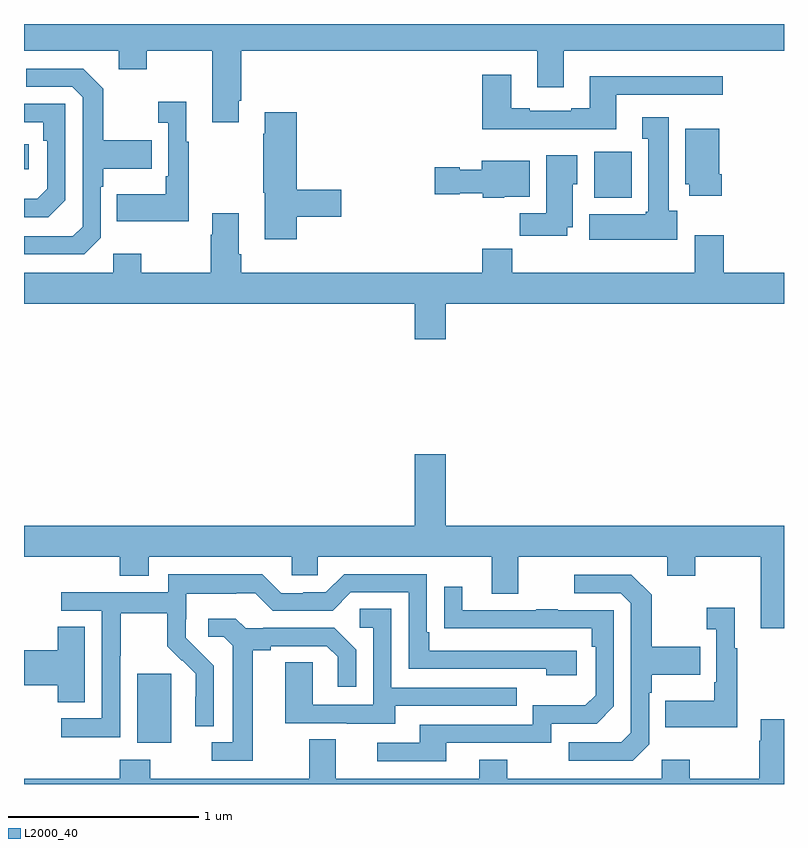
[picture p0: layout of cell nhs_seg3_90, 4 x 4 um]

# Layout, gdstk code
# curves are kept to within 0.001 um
import gdstk
lib = gdstk.Library(unit=1e-6, precision=1e-09)
def R(c, l, rs):  # rectangles x0, y0, x1, y1
    for r in rs: c.add(gdstk.rectangle(r[:2], r[2:], *l))
def P(c, l, *ps):  # polygons
    for p in ps: c.add(gdstk.Polygon(p, *l))
L2000_40 = (2000, 40)

nhs_seg3_90 = lib.new_cell('nhs_seg3_90')
R(nhs_seg3_90, L2000_40, [(115.595,686.618,115.774,686.979), (118.001,689.486,118.198,689.728), (115,689.636,115.024,689.766)])
P(nhs_seg3_90, L2000_40, [(116.131,689.995),(116.144,689.995),(116.144,690.26),(117.701,690.26),(117.701,690.066),(117.841,690.066),(117.841,690.26),(119,690.26),(119,690.4),(115,690.4),(115,690.26),(115.499,690.26),(115.499,690.161),(115.647,690.161),(115.647,690.26),(115.991,690.26),(115.991,689.883),(116.131,689.883)],
  [(115.404,689.274),(115.404,689.543),(115.417,689.543),(115.417,689.639),(115.673,689.639),(115.673,689.787),(115.417,689.787),(115.417,690.059),(115.311,690.165),(115.011,690.165),(115.011,690.069),(115.254,690.069),(115.308,690.015),(115.308,689.334),(115.257,689.283),(115,689.283),(115,689.187),(115.317,689.187)],
  [(118.117,690.027),(118.678,690.027),(118.678,690.124),(117.977,690.124),(117.977,689.956),(117.881,689.956),(117.881,689.943),(117.661,689.943),(117.661,689.956),(117.565,689.956),(117.565,690.133),(117.413,690.133),(117.413,689.846),(118.117,689.846)],
  [(115.867,689.779),(115.855,689.779),(115.855,689.992),(115.707,689.992),(115.707,689.879),(115.758,689.879),(115.758,689.599),(115.746,689.599),(115.746,689.503),(115.489,689.503),(115.489,689.363),(115.867,689.363)],
  [(115.218,689.472),(115.218,689.979),(115,689.979),(115,689.883),(115.102,689.883),(115.102,689.786),(115.122,689.786),(115.122,689.532),(115.069,689.479),(115,689.479),(115,689.382),(115.128,689.382)],
  [(116.435,689.386),(116.671,689.386),(116.671,689.528),(116.435,689.528),(116.435,689.935),(116.267,689.935),(116.267,689.822),(116.26,689.822),(116.26,689.511),(116.267,689.511),(116.267,689.268),(116.435,689.268)],
  [(118.438,689.418),(118.393,689.418),(118.393,689.908),(118.253,689.908),(118.253,689.795),(118.286,689.795),(118.286,689.412),(118.273,689.412),(118.273,689.398),(117.974,689.398),(117.974,689.264),(118.438,689.264)],
  [(118.673,689.608),(118.66,689.608),(118.66,689.848),(118.481,689.848),(118.481,689.556),(118.502,689.556),(118.502,689.496),(118.673,689.496)],
  [(117.859,689.33),(117.889,689.33),(117.889,689.556),(117.913,689.556),(117.913,689.71),(117.749,689.71),(117.749,689.404),(117.61,689.404),(117.61,689.286),(117.859,689.286)],
  [(117.528,689.492),(117.661,689.492),(117.661,689.68),(117.41,689.68),(117.41,689.632),(117.294,689.632),(117.294,689.645),(117.162,689.645),(117.162,689.503),(117.294,689.503),(117.294,689.51),(117.414,689.51),(117.414,689.486),(117.528,689.486)],
  [(117.22,688.928),(119,688.928),(119,689.092),(118.682,689.092),(118.682,689.287),(118.529,689.287),(118.529,689.092),(117.569,689.092),(117.569,689.216),(117.413,689.216),(117.413,689.092),(116.144,689.092),(116.144,689.188),(116.131,689.188),(116.131,689.404),(115.991,689.404),(115.991,689.291),(115.984,689.291),(115.984,689.092),(115.617,689.092),(115.617,689.191),(115.47,689.191),(115.47,689.092),(115,689.092),(115,688.928),(117.056,688.928),(117.056,688.74),(117.22,688.74)],
  [(119,687.76),(117.22,687.76),(117.22,688.135),(117.056,688.135),(117.056,687.76),(115,687.76),(115,687.596),(115.505,687.596),(115.505,687.497),(115.657,687.497),(115.657,687.596),(116.409,687.596),(116.409,687.498),(116.547,687.498),(116.547,687.596),(117.461,687.596),(117.461,687.402),(117.601,687.402),(117.601,687.596),(118.385,687.596),(118.385,687.497),(118.533,687.497),(118.533,687.596),(118.877,687.596),(118.877,687.219),(119,687.219)],
  [(115.506,687.076),(115.509,687.076),(115.509,687.3),(115.753,687.3),(115.753,687.125),(115.83,687.048),(115.833,687.051),(115.904,686.981),(115.904,686.858),(115.902,686.858),(115.902,686.704),(115.998,686.704),(115.998,687.022),(115.852,687.17),(115.852,687.267),(115.854,687.267),(115.854,687.401),(116.117,687.401),(116.117,687.405),(116.217,687.405),(116.31,687.312),(116.625,687.312),(116.721,687.408),(117.024,687.408),(117.024,687.006),(117.749,687.006),(117.749,686.972),(117.91,686.972),(117.91,687.102),(117.133,687.102),(117.133,687.199),(117.12,687.199),(117.12,687.504),(116.685,687.504),(116.589,687.408),(116.471,687.408),(116.471,687.405),(116.355,687.405),(116.255,687.505),(115.758,687.505),(115.758,687.408),(115.197,687.408),(115.197,687.312),(115.41,687.312),(115.41,686.745),(115.197,686.745),(115.197,686.647),(115.506,686.647)],
  [(118.29,686.61),(118.29,686.879),(118.303,686.879),(118.303,686.975),(118.559,686.975),(118.559,687.123),(118.303,687.123),(118.303,687.395),(118.197,687.501),(117.897,687.501),(117.897,687.405),(118.14,687.405),(118.194,687.351),(118.194,686.67),(118.143,686.619),(117.867,686.619),(117.867,686.523),(118.203,686.523)],
  [(117.223,686.616),(117.774,686.616),(117.774,686.718),(118.014,686.718),(118.104,686.808),(118.104,687.315),(117.809,687.315),(117.809,687.32),(117.697,687.32),(117.697,687.315),(117.307,687.315),(117.307,687.439),(117.211,687.439),(117.211,687.22),(117.988,687.219),(117.988,687.122),(118.008,687.122),(118.008,686.868),(117.955,686.815),(117.678,686.815),(117.678,686.712),(117.083,686.712),(117.083,686.616),(116.859,686.616),(116.859,686.52),(117.223,686.52)],
  [(118.753,687.115),(118.741,687.115),(118.741,687.328),(118.593,687.328),(118.593,687.215),(118.644,687.215),(118.644,686.935),(118.632,686.935),(118.632,686.839),(118.375,686.839),(118.375,686.699),(118.753,686.699)],
  [(116.953,686.811),(117.593,686.811),(117.593,686.907),(116.934,686.907),(116.934,687.323),(116.766,687.323),(116.766,687.222),(116.838,687.222),(116.838,686.817),(116.52,686.817),(116.52,687.041),(116.375,687.041),(116.375,686.721),(116.699,686.721),(116.699,686.717),(116.953,686.717)],
  [(116.203,687.104),(116.299,687.104),(116.299,687.126),(116.594,687.126),(116.651,687.069),(116.651,686.913),(116.748,686.913),(116.748,687.106),(116.632,687.222),(116.26,687.222),(116.26,687.219),(116.166,687.219),(116.114,687.271),(115.971,687.271),(115.971,687.174),(116.052,687.174),(116.099,687.127),(116.099,686.619),(115.989,686.619),(115.989,686.523),(116.203,686.523)],
  [(115.321,687.227),(115.178,687.227),(115.178,687.104),(115,687.104),(115,686.921),(115.178,686.921),(115.178,686.83),(115.321,686.83)],
  [(119,686.74),(118.877,686.74),(118.877,686.627),(118.87,686.627),(118.87,686.428),(118.503,686.428),(118.503,686.527),(118.356,686.527),(118.356,686.428),(117.543,686.428),(117.543,686.527),(117.395,686.527),(117.395,686.428),(116.641,686.428),(116.641,686.636),(116.501,686.636),(116.501,686.428),(115.665,686.428),(115.665,686.527),(115.505,686.527),(115.505,686.428),(115,686.428),(115,686.4),(119,686.4)])

lib.write_gds('nhs_seg3_90.gds')
